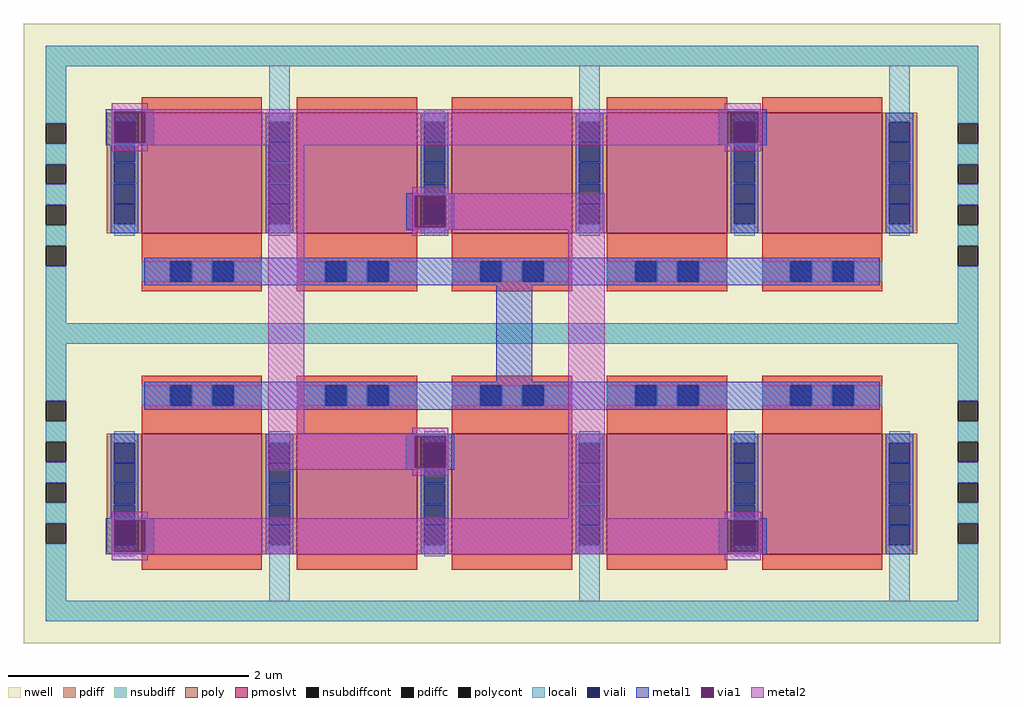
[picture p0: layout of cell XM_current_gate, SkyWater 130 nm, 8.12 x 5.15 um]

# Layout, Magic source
magic
tech sky130A
magscale 1 2
<< locali >>
rect 302 316 336 394
rect 818 316 852 394
rect 1334 316 1368 394
rect 302 -500 336 -422
rect 818 -500 852 -422
rect 1334 -500 1368 -422
<< metal1 >>
rect 30 316 110 320
rect 30 264 44 316
rect 96 264 110 316
rect 30 260 110 264
rect 1050 316 1130 320
rect 1050 264 1064 316
rect 1116 264 1130 316
rect 1050 260 1130 264
rect 530 176 610 180
rect 530 124 544 176
rect 596 124 610 176
rect 530 120 610 124
rect 94 27 1318 73
rect 680 -133 740 27
rect 94 -180 1318 -133
rect 530 -224 610 -220
rect 530 -276 544 -224
rect 596 -276 610 -224
rect 530 -280 610 -276
rect 30 -364 110 -360
rect 30 -416 44 -364
rect 96 -416 110 -364
rect 30 -420 110 -416
rect 1050 -364 1130 -360
rect 1050 -416 1064 -364
rect 1116 -416 1130 -364
rect 1050 -420 1130 -416
<< via1 >>
rect 44 264 96 316
rect 1064 264 1116 316
rect 544 124 596 176
rect 544 -276 596 -224
rect 44 -416 96 -364
rect 1064 -416 1116 -364
<< metal2 >>
rect 40 320 100 330
rect 1060 320 1120 330
rect 40 316 1120 320
rect 40 264 44 316
rect 96 264 1064 316
rect 1116 264 1120 316
rect 40 260 1120 264
rect 40 250 100 260
rect 300 -220 360 260
rect 1060 250 1120 260
rect 540 180 600 190
rect 540 176 860 180
rect 540 124 544 176
rect 596 124 860 176
rect 540 120 860 124
rect 540 110 600 120
rect 540 -220 600 -210
rect 300 -224 600 -220
rect 300 -276 544 -224
rect 596 -276 600 -224
rect 300 -280 600 -276
rect 540 -290 600 -280
rect 40 -360 100 -350
rect 800 -360 860 120
rect 1060 -360 1120 -350
rect 40 -364 1120 -360
rect 40 -416 44 -364
rect 96 -416 1064 -364
rect 1116 -416 1120 -364
rect 40 -420 1120 -416
rect 40 -430 100 -420
rect 1060 -430 1120 -420
use sky130_fd_pr__pfet_01v8_lvt_MUVY4U  sky130_fd_pr__pfet_01v8_lvt_MUVY4U_0
transform 1 0 706 0 1 178
box -812 -284 812 284
use sky130_fd_pr__pfet_01v8_lvt_Q24T46  sky130_fd_pr__pfet_01v8_lvt_Q24T46_0
transform 1 0 706 0 1 -284
box -812 -284 812 284
<< end >>

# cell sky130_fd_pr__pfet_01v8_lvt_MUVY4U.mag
magic
tech sky130A
magscale 1 2
<< nwell >>
rect -812 -284 812 284
<< pmoslvt >>
rect -616 -64 -416 136
rect -358 -64 -158 136
rect -100 -64 100 136
rect 158 -64 358 136
rect 416 -64 616 136
<< pdiff >>
rect -674 121 -616 136
rect -674 87 -662 121
rect -628 87 -616 121
rect -674 53 -616 87
rect -674 19 -662 53
rect -628 19 -616 53
rect -674 -15 -616 19
rect -674 -49 -662 -15
rect -628 -49 -616 -15
rect -674 -64 -616 -49
rect -416 121 -358 136
rect -416 87 -404 121
rect -370 87 -358 121
rect -416 53 -358 87
rect -416 19 -404 53
rect -370 19 -358 53
rect -416 -15 -358 19
rect -416 -49 -404 -15
rect -370 -49 -358 -15
rect -416 -64 -358 -49
rect -158 121 -100 136
rect -158 87 -146 121
rect -112 87 -100 121
rect -158 53 -100 87
rect -158 19 -146 53
rect -112 19 -100 53
rect -158 -15 -100 19
rect -158 -49 -146 -15
rect -112 -49 -100 -15
rect -158 -64 -100 -49
rect 100 121 158 136
rect 100 87 112 121
rect 146 87 158 121
rect 100 53 158 87
rect 100 19 112 53
rect 146 19 158 53
rect 100 -15 158 19
rect 100 -49 112 -15
rect 146 -49 158 -15
rect 100 -64 158 -49
rect 358 121 416 136
rect 358 87 370 121
rect 404 87 416 121
rect 358 53 416 87
rect 358 19 370 53
rect 404 19 416 53
rect 358 -15 416 19
rect 358 -49 370 -15
rect 404 -49 416 -15
rect 358 -64 416 -49
rect 616 121 674 136
rect 616 87 628 121
rect 662 87 674 121
rect 616 53 674 87
rect 616 19 628 53
rect 662 19 674 53
rect 616 -15 674 19
rect 616 -49 628 -15
rect 662 -49 674 -15
rect 616 -64 674 -49
<< pdiffc >>
rect -662 87 -628 121
rect -662 19 -628 53
rect -662 -49 -628 -15
rect -404 87 -370 121
rect -404 19 -370 53
rect -404 -49 -370 -15
rect -146 87 -112 121
rect -146 19 -112 53
rect -146 -49 -112 -15
rect 112 87 146 121
rect 112 19 146 53
rect 112 -49 146 -15
rect 370 87 404 121
rect 370 19 404 53
rect 370 -49 404 -15
rect 628 87 662 121
rect 628 19 662 53
rect 628 -49 662 -15
<< nsubdiff >>
rect -776 214 776 248
rect -776 119 -742 214
rect -776 51 -742 85
rect -776 -17 -742 17
rect -776 -85 -742 -51
rect 742 119 776 214
rect 742 51 776 85
rect 742 -17 776 17
rect -776 -214 -742 -119
rect 742 -85 776 -51
rect 742 -214 776 -119
rect -776 -248 776 -214
<< nsubdiffcont >>
rect -776 85 -742 119
rect -776 17 -742 51
rect -776 -51 -742 -17
rect 742 85 776 119
rect 742 17 776 51
rect 742 -51 776 -17
rect -776 -119 -742 -85
rect 742 -119 776 -85
<< poly >>
rect -616 136 -416 162
rect -358 136 -158 162
rect -100 136 100 162
rect 158 136 358 162
rect 416 136 616 162
rect -616 -111 -416 -64
rect -616 -145 -567 -111
rect -533 -145 -499 -111
rect -465 -145 -416 -111
rect -616 -161 -416 -145
rect -358 -111 -158 -64
rect -358 -145 -309 -111
rect -275 -145 -241 -111
rect -207 -145 -158 -111
rect -358 -161 -158 -145
rect -100 -111 100 -64
rect -100 -145 -51 -111
rect -17 -145 17 -111
rect 51 -145 100 -111
rect -100 -161 100 -145
rect 158 -111 358 -64
rect 158 -145 207 -111
rect 241 -145 275 -111
rect 309 -145 358 -111
rect 158 -161 358 -145
rect 416 -111 616 -64
rect 416 -145 465 -111
rect 499 -145 533 -111
rect 567 -145 616 -111
rect 416 -161 616 -145
<< polycont >>
rect -567 -145 -533 -111
rect -499 -145 -465 -111
rect -309 -145 -275 -111
rect -241 -145 -207 -111
rect -51 -145 -17 -111
rect 17 -145 51 -111
rect 207 -145 241 -111
rect 275 -145 309 -111
rect 465 -145 499 -111
rect 533 -145 567 -111
<< locali >>
rect -776 214 776 248
rect -776 119 -742 214
rect -776 51 -742 85
rect -776 -17 -742 17
rect -776 -85 -742 -51
rect -662 121 -628 140
rect -662 53 -628 55
rect -662 17 -628 19
rect -662 -68 -628 -49
rect -404 121 -370 140
rect -404 53 -370 55
rect -404 17 -370 19
rect -404 -68 -370 -49
rect -146 121 -112 140
rect -146 53 -112 55
rect -146 17 -112 19
rect -146 -68 -112 -49
rect 112 121 146 140
rect 112 53 146 55
rect 112 17 146 19
rect 112 -68 146 -49
rect 370 121 404 140
rect 370 53 404 55
rect 370 17 404 19
rect 370 -68 404 -49
rect 628 121 662 140
rect 628 53 662 55
rect 628 17 662 19
rect 628 -68 662 -49
rect 742 119 776 214
rect 742 51 776 85
rect 742 -17 776 17
rect 742 -85 776 -51
rect -776 -214 -742 -119
rect -616 -145 -569 -111
rect -533 -145 -499 -111
rect -463 -145 -416 -111
rect -358 -145 -311 -111
rect -275 -145 -241 -111
rect -205 -145 -158 -111
rect -100 -145 -53 -111
rect -17 -145 17 -111
rect 53 -145 100 -111
rect 158 -145 205 -111
rect 241 -145 275 -111
rect 311 -145 358 -111
rect 416 -145 463 -111
rect 499 -145 533 -111
rect 569 -145 616 -111
rect 742 -214 776 -119
rect -776 -248 776 -214
<< viali >>
rect -662 87 -628 89
rect -662 55 -628 87
rect -662 -15 -628 17
rect -662 -17 -628 -15
rect -404 87 -370 89
rect -404 55 -370 87
rect -404 -15 -370 17
rect -404 -17 -370 -15
rect -146 87 -112 89
rect -146 55 -112 87
rect -146 -15 -112 17
rect -146 -17 -112 -15
rect 112 87 146 89
rect 112 55 146 87
rect 112 -15 146 17
rect 112 -17 146 -15
rect 370 87 404 89
rect 370 55 404 87
rect 370 -15 404 17
rect 370 -17 404 -15
rect 628 87 662 89
rect 628 55 662 87
rect 628 -15 662 17
rect 628 -17 662 -15
rect -569 -145 -567 -111
rect -567 -145 -535 -111
rect -497 -145 -465 -111
rect -465 -145 -463 -111
rect -311 -145 -309 -111
rect -309 -145 -277 -111
rect -239 -145 -207 -111
rect -207 -145 -205 -111
rect -53 -145 -51 -111
rect -51 -145 -19 -111
rect 19 -145 51 -111
rect 51 -145 53 -111
rect 205 -145 207 -111
rect 207 -145 239 -111
rect 277 -145 309 -111
rect 309 -145 311 -111
rect 463 -145 465 -111
rect 465 -145 497 -111
rect 535 -145 567 -111
rect 567 -145 569 -111
<< metal1 >>
rect -668 89 -622 136
rect -668 55 -662 89
rect -628 55 -622 89
rect -668 17 -622 55
rect -668 -17 -662 17
rect -628 -17 -622 17
rect -668 -64 -622 -17
rect -410 89 -364 136
rect -410 55 -404 89
rect -370 55 -364 89
rect -410 17 -364 55
rect -410 -17 -404 17
rect -370 -17 -364 17
rect -410 -64 -364 -17
rect -152 89 -106 136
rect -152 55 -146 89
rect -112 55 -106 89
rect -152 17 -106 55
rect -152 -17 -146 17
rect -112 -17 -106 17
rect -152 -64 -106 -17
rect 106 89 152 136
rect 106 55 112 89
rect 146 55 152 89
rect 106 17 152 55
rect 106 -17 112 17
rect 146 -17 152 17
rect 106 -64 152 -17
rect 364 89 410 136
rect 364 55 370 89
rect 404 55 410 89
rect 364 17 410 55
rect 364 -17 370 17
rect 404 -17 410 17
rect 364 -64 410 -17
rect 622 89 668 136
rect 622 55 628 89
rect 662 55 668 89
rect 622 17 668 55
rect 622 -17 628 17
rect 662 -17 668 17
rect 622 -64 668 -17
rect -612 -111 -420 -105
rect -612 -145 -569 -111
rect -535 -145 -497 -111
rect -463 -145 -420 -111
rect -612 -151 -420 -145
rect -354 -111 -162 -105
rect -354 -145 -311 -111
rect -277 -145 -239 -111
rect -205 -145 -162 -111
rect -354 -151 -162 -145
rect -96 -111 96 -105
rect -96 -145 -53 -111
rect -19 -145 19 -111
rect 53 -145 96 -111
rect -96 -151 96 -145
rect 162 -111 354 -105
rect 162 -145 205 -111
rect 239 -145 277 -111
rect 311 -145 354 -111
rect 162 -151 354 -145
rect 420 -111 612 -105
rect 420 -145 463 -111
rect 497 -145 535 -111
rect 569 -145 612 -111
rect 420 -151 612 -145
<< properties >>
string FIXED_BBOX -759 -231 759 231
<< end >>

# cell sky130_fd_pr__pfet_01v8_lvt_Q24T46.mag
magic
tech sky130A
magscale 1 2
<< nwell >>
rect -812 -284 812 284
<< pmoslvt >>
rect -616 -136 -416 64
rect -358 -136 -158 64
rect -100 -136 100 64
rect 158 -136 358 64
rect 416 -136 616 64
<< pdiff >>
rect -674 49 -616 64
rect -674 15 -662 49
rect -628 15 -616 49
rect -674 -19 -616 15
rect -674 -53 -662 -19
rect -628 -53 -616 -19
rect -674 -87 -616 -53
rect -674 -121 -662 -87
rect -628 -121 -616 -87
rect -674 -136 -616 -121
rect -416 49 -358 64
rect -416 15 -404 49
rect -370 15 -358 49
rect -416 -19 -358 15
rect -416 -53 -404 -19
rect -370 -53 -358 -19
rect -416 -87 -358 -53
rect -416 -121 -404 -87
rect -370 -121 -358 -87
rect -416 -136 -358 -121
rect -158 49 -100 64
rect -158 15 -146 49
rect -112 15 -100 49
rect -158 -19 -100 15
rect -158 -53 -146 -19
rect -112 -53 -100 -19
rect -158 -87 -100 -53
rect -158 -121 -146 -87
rect -112 -121 -100 -87
rect -158 -136 -100 -121
rect 100 49 158 64
rect 100 15 112 49
rect 146 15 158 49
rect 100 -19 158 15
rect 100 -53 112 -19
rect 146 -53 158 -19
rect 100 -87 158 -53
rect 100 -121 112 -87
rect 146 -121 158 -87
rect 100 -136 158 -121
rect 358 49 416 64
rect 358 15 370 49
rect 404 15 416 49
rect 358 -19 416 15
rect 358 -53 370 -19
rect 404 -53 416 -19
rect 358 -87 416 -53
rect 358 -121 370 -87
rect 404 -121 416 -87
rect 358 -136 416 -121
rect 616 49 674 64
rect 616 15 628 49
rect 662 15 674 49
rect 616 -19 674 15
rect 616 -53 628 -19
rect 662 -53 674 -19
rect 616 -87 674 -53
rect 616 -121 628 -87
rect 662 -121 674 -87
rect 616 -136 674 -121
<< pdiffc >>
rect -662 15 -628 49
rect -662 -53 -628 -19
rect -662 -121 -628 -87
rect -404 15 -370 49
rect -404 -53 -370 -19
rect -404 -121 -370 -87
rect -146 15 -112 49
rect -146 -53 -112 -19
rect -146 -121 -112 -87
rect 112 15 146 49
rect 112 -53 146 -19
rect 112 -121 146 -87
rect 370 15 404 49
rect 370 -53 404 -19
rect 370 -121 404 -87
rect 628 15 662 49
rect 628 -53 662 -19
rect 628 -121 662 -87
<< nsubdiff >>
rect -776 214 776 248
rect -776 119 -742 214
rect -776 51 -742 85
rect 742 119 776 214
rect -776 -17 -742 17
rect -776 -85 -742 -51
rect -776 -214 -742 -119
rect 742 51 776 85
rect 742 -17 776 17
rect 742 -85 776 -51
rect 742 -214 776 -119
rect -776 -248 776 -214
<< nsubdiffcont >>
rect -776 85 -742 119
rect 742 85 776 119
rect -776 17 -742 51
rect -776 -51 -742 -17
rect -776 -119 -742 -85
rect 742 17 776 51
rect 742 -51 776 -17
rect 742 -119 776 -85
<< poly >>
rect -616 145 -416 161
rect -616 111 -567 145
rect -533 111 -499 145
rect -465 111 -416 145
rect -616 64 -416 111
rect -358 145 -158 161
rect -358 111 -309 145
rect -275 111 -241 145
rect -207 111 -158 145
rect -358 64 -158 111
rect -100 145 100 161
rect -100 111 -51 145
rect -17 111 17 145
rect 51 111 100 145
rect -100 64 100 111
rect 158 145 358 161
rect 158 111 207 145
rect 241 111 275 145
rect 309 111 358 145
rect 158 64 358 111
rect 416 145 616 161
rect 416 111 465 145
rect 499 111 533 145
rect 567 111 616 145
rect 416 64 616 111
rect -616 -162 -416 -136
rect -358 -162 -158 -136
rect -100 -162 100 -136
rect 158 -162 358 -136
rect 416 -162 616 -136
<< polycont >>
rect -567 111 -533 145
rect -499 111 -465 145
rect -309 111 -275 145
rect -241 111 -207 145
rect -51 111 -17 145
rect 17 111 51 145
rect 207 111 241 145
rect 275 111 309 145
rect 465 111 499 145
rect 533 111 567 145
<< locali >>
rect -776 214 776 248
rect -776 119 -742 214
rect -616 111 -569 145
rect -533 111 -499 145
rect -463 111 -416 145
rect -358 111 -311 145
rect -275 111 -241 145
rect -205 111 -158 145
rect -100 111 -53 145
rect -17 111 17 145
rect 53 111 100 145
rect 158 111 205 145
rect 241 111 275 145
rect 311 111 358 145
rect 416 111 463 145
rect 499 111 533 145
rect 569 111 616 145
rect 742 119 776 214
rect -776 51 -742 85
rect -776 -17 -742 17
rect -776 -85 -742 -51
rect -776 -214 -742 -119
rect -662 49 -628 68
rect -662 -19 -628 -17
rect -662 -55 -628 -53
rect -662 -140 -628 -121
rect -404 49 -370 68
rect -404 -19 -370 -17
rect -404 -55 -370 -53
rect -404 -140 -370 -121
rect -146 49 -112 68
rect -146 -19 -112 -17
rect -146 -55 -112 -53
rect -146 -140 -112 -121
rect 112 49 146 68
rect 112 -19 146 -17
rect 112 -55 146 -53
rect 112 -140 146 -121
rect 370 49 404 68
rect 370 -19 404 -17
rect 370 -55 404 -53
rect 370 -140 404 -121
rect 628 49 662 68
rect 628 -19 662 -17
rect 628 -55 662 -53
rect 628 -140 662 -121
rect 742 51 776 85
rect 742 -17 776 17
rect 742 -85 776 -51
rect 742 -214 776 -119
rect -776 -248 776 -214
<< viali >>
rect -569 111 -567 145
rect -567 111 -535 145
rect -497 111 -465 145
rect -465 111 -463 145
rect -311 111 -309 145
rect -309 111 -277 145
rect -239 111 -207 145
rect -207 111 -205 145
rect -53 111 -51 145
rect -51 111 -19 145
rect 19 111 51 145
rect 51 111 53 145
rect 205 111 207 145
rect 207 111 239 145
rect 277 111 309 145
rect 309 111 311 145
rect 463 111 465 145
rect 465 111 497 145
rect 535 111 567 145
rect 567 111 569 145
rect -662 15 -628 17
rect -662 -17 -628 15
rect -662 -87 -628 -55
rect -662 -89 -628 -87
rect -404 15 -370 17
rect -404 -17 -370 15
rect -404 -87 -370 -55
rect -404 -89 -370 -87
rect -146 15 -112 17
rect -146 -17 -112 15
rect -146 -87 -112 -55
rect -146 -89 -112 -87
rect 112 15 146 17
rect 112 -17 146 15
rect 112 -87 146 -55
rect 112 -89 146 -87
rect 370 15 404 17
rect 370 -17 404 15
rect 370 -87 404 -55
rect 370 -89 404 -87
rect 628 15 662 17
rect 628 -17 662 15
rect 628 -87 662 -55
rect 628 -89 662 -87
<< metal1 >>
rect -612 145 -420 151
rect -612 111 -569 145
rect -535 111 -497 145
rect -463 111 -420 145
rect -612 105 -420 111
rect -354 145 -162 151
rect -354 111 -311 145
rect -277 111 -239 145
rect -205 111 -162 145
rect -354 105 -162 111
rect -96 145 96 151
rect -96 111 -53 145
rect -19 111 19 145
rect 53 111 96 145
rect -96 105 96 111
rect 162 145 354 151
rect 162 111 205 145
rect 239 111 277 145
rect 311 111 354 145
rect 162 105 354 111
rect 420 145 612 151
rect 420 111 463 145
rect 497 111 535 145
rect 569 111 612 145
rect 420 105 612 111
rect -668 17 -622 64
rect -668 -17 -662 17
rect -628 -17 -622 17
rect -668 -55 -622 -17
rect -668 -89 -662 -55
rect -628 -89 -622 -55
rect -668 -136 -622 -89
rect -410 17 -364 64
rect -410 -17 -404 17
rect -370 -17 -364 17
rect -410 -55 -364 -17
rect -410 -89 -404 -55
rect -370 -89 -364 -55
rect -410 -136 -364 -89
rect -152 17 -106 64
rect -152 -17 -146 17
rect -112 -17 -106 17
rect -152 -55 -106 -17
rect -152 -89 -146 -55
rect -112 -89 -106 -55
rect -152 -136 -106 -89
rect 106 17 152 64
rect 106 -17 112 17
rect 146 -17 152 17
rect 106 -55 152 -17
rect 106 -89 112 -55
rect 146 -89 152 -55
rect 106 -136 152 -89
rect 364 17 410 64
rect 364 -17 370 17
rect 404 -17 410 17
rect 364 -55 410 -17
rect 364 -89 370 -55
rect 404 -89 410 -55
rect 364 -136 410 -89
rect 622 17 668 64
rect 622 -17 628 17
rect 662 -17 668 17
rect 622 -55 668 -17
rect 622 -89 628 -55
rect 662 -89 668 -55
rect 622 -136 668 -89
<< properties >>
string FIXED_BBOX -759 -231 759 231
<< end >>
